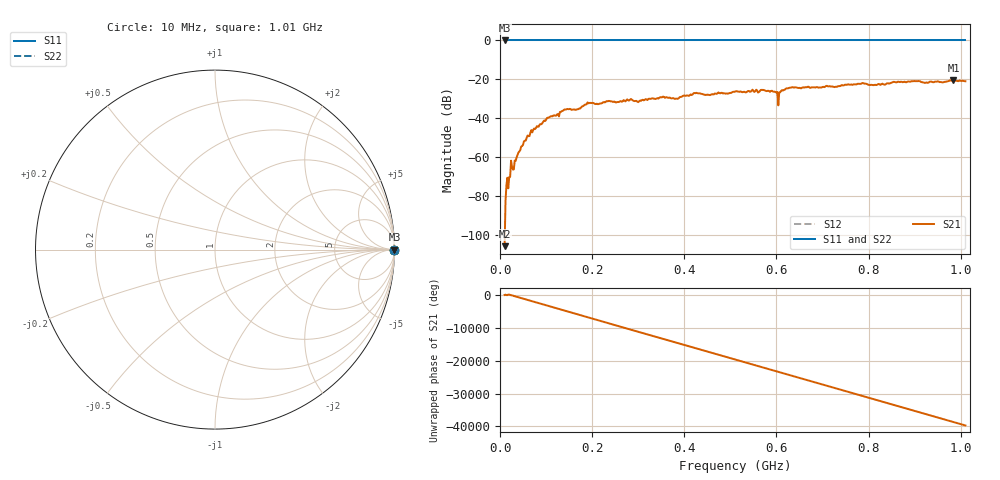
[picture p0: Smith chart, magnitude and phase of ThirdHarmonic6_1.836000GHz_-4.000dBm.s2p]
! 8/16/2025 10:13:43 PM
! C:\ANRITSUVNA\TEMP\TEMP.S2P
! CHANNEL.1
! TR.MEASUREMENT
! RAW.DATA
! RF.CORRECTION.OFF
! AVERAGING.OFF
! IF.BANDWIDTH: 5KHZ
! SWEEPTYPE:  FREQ.SWEEP(Linear)
! Reference Plane Port Info
! PORT:  PORT1  PORT2
! DISTANCE:  0  m  0  m
! TIME:  0  s  0  s
! PHASE.OFFSET:  0  deg.  0  deg.
! LOSS:  0  dB  0  dB
! REF.LOSS:  0  dB  0  dB
! REF.FREQ:  0  Hz  0  Hz
! Power Info
! POWER:  -20  dBm  -20  dBm
! EFF.POWER:  -20  dBm  -20  dBm
! SOURCE.ATTEN:  0  dB  0  dB
! TEST.ATTEN:  0  dB  0  dB
# GHZ S RI R 50.0
! FREQ.GHZ  S11RE  S11IM  S21RE  S21IM  S12RE  S12IM  S22RE  S22IM
!; PortSelection: Port_12
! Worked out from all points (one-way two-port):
!   501 points, 10 MHz to 1.01 GHz, reference 50 ohm
!   highest |S21| = -20.52 dB at 984 MHz (marker M1); lowest = -105.6 dB at 10 MHz (marker M2)
!   lowest |S11| = 0.0 dB at 10 MHz (marker M3)
!   |S11| at or under -10 dB: nowhere
!   |S22| runs from 0.0 to 0.0 dB; largest |S21 - S12| = 1.1
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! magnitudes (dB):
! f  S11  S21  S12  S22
! 10 MHz  0.0  -105.6  0.0  0.0
! 28 MHz  0.0  -66.3  0.0  0.0
! 32 MHz  0.0  -61.6  0.0  0.0
! 50 MHz  0.0  -53.6  0.0  0.0
! 70 MHz  0.0  -47.2  0.0  0.0
! 106 MHz  0.0  -39.6  0.0  0.0
! 142 MHz  0.0  -35.5  0.0  0.0
! 178 MHz  0.0  -33.9  0.0  0.0
! 194 MHz  0.0  -32.1  0.0  0.0
! 344 MHz  0.0  -29.8  0.0  0.0
! 382 MHz  0.0  -29.9  0.0  0.0
! 424 MHz  0.0  -27.1  0.0  0.0
! 452 MHz  0.0  -27.9  0.0  0.0
! 510 MHz  0.0  -26.3  0.0  0.0
! 570 MHz  0.0  -25.4  0.0  0.0
! 598 MHz  0.0  -26.5  0.0  0.0
! 604 MHz  0.0  -33.3  0.0  0.0
! 626 MHz  0.0  -24.5  0.0  0.0
! 678 MHz  0.0  -24.0  0.0  0.0
! 844 MHz  0.0  -22.1  0.0  0.0
! 984 MHz  0.0  -20.5  0.0  0.0
! 1.01 GHz  0.0  -20.9  0.0  0.0
